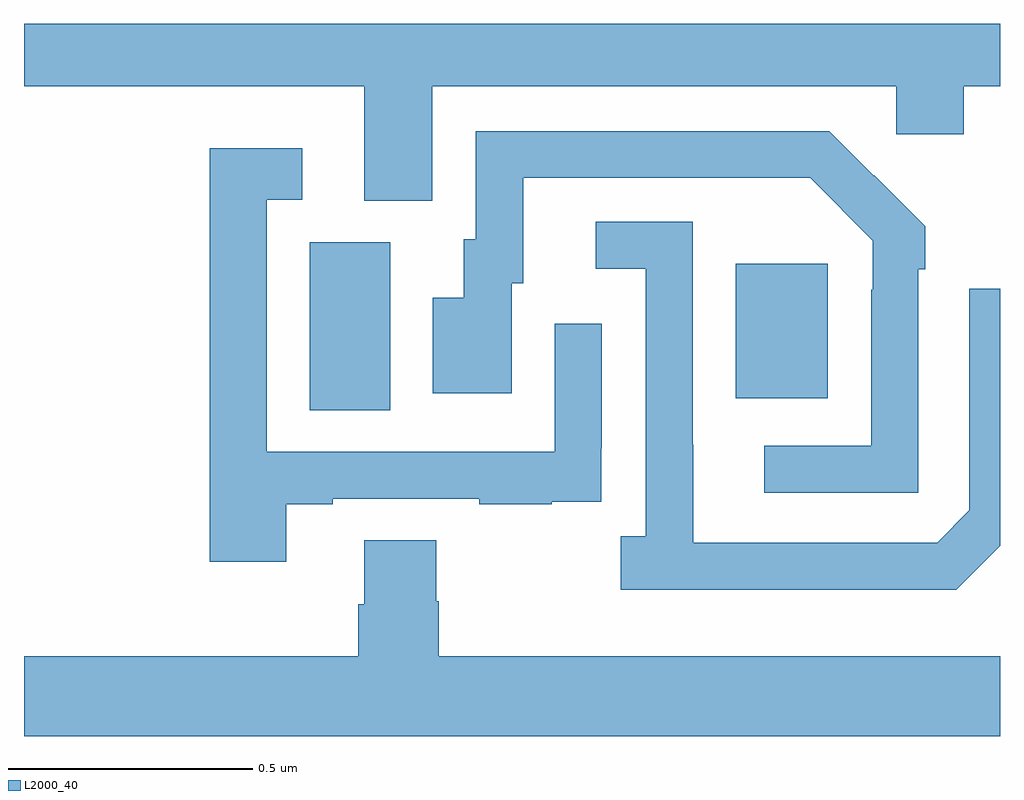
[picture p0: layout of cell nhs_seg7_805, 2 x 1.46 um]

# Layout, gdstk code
import gdstk
lib = gdstk.Library(unit=1e-6, precision=1e-09)
def R(c, l, rs):  # rectangles x0, y0, x1, y1
    for r in rs: c.add(gdstk.rectangle(r[:2], r[2:], *l))
def P(c, l, *ps):  # polygons
    for p in ps: c.add(gdstk.Polygon(p, *l))
L2000_40 = (2000, 40)

nhs_seg7_805 = lib.new_cell('nhs_seg7_805')
R(nhs_seg7_805, L2000_40, [(121.586,1077.208,121.75,1077.552), (122.459,1077.233,122.647,1077.508)])
P(nhs_seg7_805, L2000_40, [(121.837,1077.872),(122.787,1077.872),(122.787,1077.774),(122.926,1077.774),(122.926,1077.872),(123,1077.872),(123,1078),(121,1078),(121,1077.872),(121.697,1077.872),(121.697,1077.637),(121.837,1077.637)],
  [(122.832,1077.497),(122.847,1077.497),(122.847,1077.585),(122.742,1077.69),(122.741,1077.689),(122.65,1077.78),(121.926,1077.78),(121.926,1077.558),(121.901,1077.558),(121.901,1077.439),(121.838,1077.439),(121.838,1077.243),(121.999,1077.243),(121.999,1077.468),(122.023,1077.468),(122.023,1077.684),(122.611,1077.684),(122.739,1077.555),(122.739,1077.455),(122.736,1077.455),(122.736,1077.135),(122.517,1077.135),(122.517,1077.039),(122.832,1077.039)],
  [(121.537,1077.015),(121.633,1077.015),(121.633,1077.027),(121.933,1077.027),(121.933,1077.015),(122.081,1077.015),(122.081,1077.021),(122.183,1077.021),(122.183,1077.13),(122.184,1077.13),(122.184,1077.385),(122.088,1077.385),(122.088,1077.123),(121.497,1077.123),(121.497,1077.639),(121.57,1077.639),(121.57,1077.745),(121.381,1077.745),(121.381,1076.898),(121.537,1076.898)],
  [(123,1076.93),(123,1077.457),(122.937,1077.457),(122.937,1077.003),(122.871,1076.937),(122.371,1076.937),(122.371,1077.137),(122.37,1077.137),(122.37,1077.594),(122.172,1077.594),(122.172,1077.498),(122.274,1077.498),(122.274,1076.95),(122.223,1076.95),(122.223,1076.84),(122.91,1076.84)],
  [(123,1076.704),(121.85,1076.704),(121.85,1076.817),(121.845,1076.817),(121.845,1076.942),(121.697,1076.942),(121.697,1076.81),(121.685,1076.81),(121.685,1076.704),(121,1076.704),(121,1076.54),(123,1076.54)])

lib.write_gds('nhs_seg7_805.gds')
